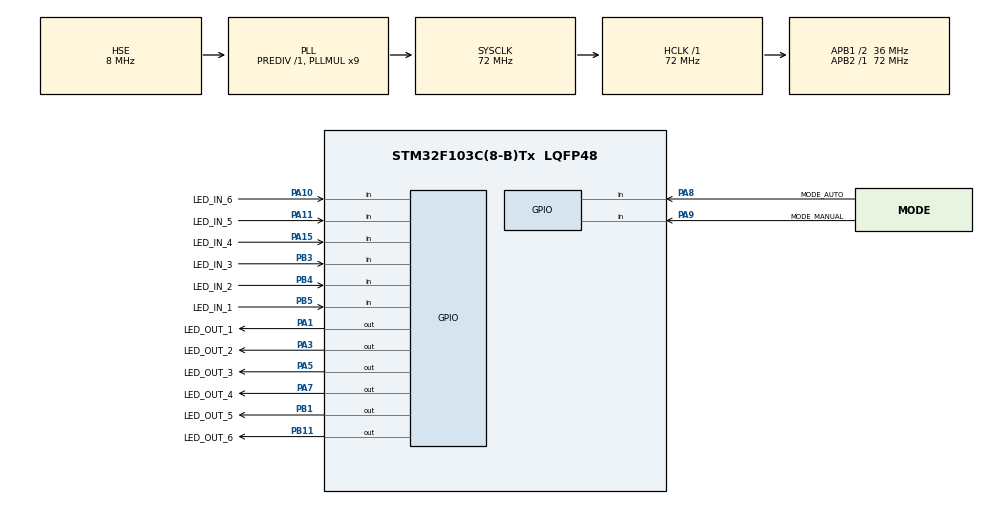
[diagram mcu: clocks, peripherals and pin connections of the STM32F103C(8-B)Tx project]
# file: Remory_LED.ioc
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Mcu.Family=STM32F1
Mcu.Name=STM32F103C(8-B)Tx
Mcu.Package=LQFP48
NVIC.PriorityGroup=NVIC_PRIORITYGROUP_4
PA1.GPIO_Label=LED_OUT_1
PA1.Signal=GPIO_Output
PA10.GPIO_Label=LED_IN_6
PA10.GPIO_PuPd=GPIO_PULLUP
PA10.Signal=GPIO_Input
PA11.GPIO_Label=LED_IN_5
PA11.GPIO_PuPd=GPIO_PULLUP
PA11.Signal=GPIO_Input
PA13.Mode=Serial_Wire
PA13.Signal=SYS_JTMS-SWDIO
PA14.Mode=Serial_Wire
PA14.Signal=SYS_JTCK-SWCLK
PA15.GPIO_Label=LED_IN_4
PA15.GPIO_PuPd=GPIO_PULLUP
PA15.Signal=GPIO_Input
PA3.GPIO_Label=LED_OUT_2
PA3.Signal=GPIO_Output
PA5.GPIO_Label=LED_OUT_3
PA5.Signal=GPIO_Output
PA7.GPIO_Label=LED_OUT_4
PA7.Signal=GPIO_Output
PA8.GPIO_Label=MODE_AUTO
PA8.GPIO_PuPd=GPIO_PULLUP
PA8.Signal=GPIO_Input
PA9.GPIO_Label=MODE_MANUAL
PA9.GPIO_PuPd=GPIO_PULLUP
PA9.Signal=GPIO_Input
PB1.GPIO_Label=LED_OUT_5
PB1.Signal=GPIO_Output
PB11.GPIO_Label=LED_OUT_6
PB11.GPIO_Speed=GPIO_SPEED_FREQ_LOW
PB11.Signal=GPIO_Output
PB3.GPIO_Label=LED_IN_3
PB3.GPIO_PuPd=GPIO_PULLUP
PB3.Signal=GPIO_Input
PB4.GPIO_Label=LED_IN_2
PB4.GPIO_PuPd=GPIO_PULLUP
PB4.Signal=GPIO_Input
PB5.GPIO_Label=LED_IN_1
PB5.GPIO_PuPd=GPIO_PULLUP
PB5.Signal=GPIO_Input
PD0-OSC_IN.Mode=HSE-External-Oscillator
PD0-OSC_IN.Signal=RCC_OSC_IN
PD1-OSC_OUT.Mode=HSE-External-Oscillator
PD1-OSC_OUT.Signal=RCC_OSC_OUT
ProjectManager.HeapSize=0x200
ProjectManager.StackSize=0x400
ProjectManager.TargetToolchain=MDK-ARM V5.32
RCC.AHBFreq_Value=72000000
RCC.APB1CLKDivider=RCC_HCLK_DIV2
RCC.APB1Freq_Value=36000000
RCC.APB1TimFreq_Value=72000000
RCC.APB2Freq_Value=72000000
RCC.APB2TimFreq_Value=72000000
RCC.HCLKFreq_Value=72000000
RCC.PLLMUL=RCC_PLL_MUL9
RCC.PLLSourceVirtual=RCC_PLLSOURCE_HSE
RCC.SYSCLKFreq_VALUE=72000000
RCC.SYSCLKSource=RCC_SYSCLKSOURCE_PLLCLK
RCC.USBFreq_Value=72000000
board=custom

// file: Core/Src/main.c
/* USER CODE BEGIN Header */
/**
 ******************************************************************************
 * @file           : main.c
 * @brief          : Main program body
 ******************************************************************************
 * @attention
 *
 * Copyright (c) 2024 STMicroelectronics.
 * All rights reserved.
 *
 * This software is licensed under terms that can be found in the LICENSE file
 * in the root directory of this software component.
 * If no LICENSE file comes with this software, it is provided AS-IS.
 *
 ******************************************************************************
 */
/* USER CODE END Header */
#include "main.h"
#include "gpio.h"

/* USER CODE BEGIN PV */
// 本项目所用到的所有全局变量
int8_t LED_1, LED_2, LED_3, LED_4, LED_5, LED_6, mode_auto, mode_manual = 0;
int8_t Last_LED_1, Last_LED_2, Last_LED_3, Last_LED_4, Last_LED_5, Last_LED_6, Last_mode_auto, Last_mode_manual = 0;
int8_t count = 0;
int8_t memory_LED[50] = {0}; // 用来记录按键顺序
int8_t sequence_num = 0;
int8_t Mode = DOWN;
/* USER CODE END PV */

void SystemClock_Config(void);

int main(void)
{

  /* MCU Configuration--------------------------------------------------------*/

  /* Reset of all peripherals, Initializes the Flash interface and the Systick. */
  HAL_Init();

  /* Configure the system clock */
  SystemClock_Config();

  /* Initialize all configured peripherals */
  MX_GPIO_Init();

  /* Infinite loop */
  /* USER CODE BEGIN WHILE */
  while (1)
  {
    Set_Mode();
    LastKeyOrder_update();
    GetKeyOrder();
    if (Mode == MANUAL)
    {
      Get_Key_Sequence();
    }
    else if (Mode == AUTO)
    {
      Light_LED();
      Mode = DOWN;
    }
    /* USER CODE END WHILE */

    /* USER CODE BEGIN 3 */
    HAL_Delay(5);
  }
  /* USER CODE END 3 */
}

void SystemClock_Config(void)
{
  RCC_OscInitTypeDef RCC_OscInitStruct = {0};
  RCC_ClkInitTypeDef RCC_ClkInitStruct = {0};

  /** Initializes the RCC Oscillators according to the specified parameters
   * in the RCC_OscInitTypeDef structure.
   */
  RCC_OscInitStruct.OscillatorType = RCC_OSCILLATORTYPE_HSE;
  RCC_OscInitStruct.HSEState = RCC_HSE_ON;
  RCC_OscInitStruct.HSEPredivValue = RCC_HSE_PREDIV_DIV1;
  RCC_OscInitStruct.HSIState = RCC_HSI_ON;
  RCC_OscInitStruct.PLL.PLLState = RCC_PLL_ON;
  RCC_OscInitStruct.PLL.PLLSource = RCC_PLLSOURCE_HSE;
  RCC_OscInitStruct.PLL.PLLMUL = RCC_PLL_MUL9;
  if (HAL_RCC_OscConfig(&RCC_OscInitStruct) != HAL_OK)
  {
    Error_Handler();
  }

  /** Initializes the CPU, AHB and APB buses clocks
   */
  RCC_ClkInitStruct.ClockType = RCC_CLOCKTYPE_HCLK | RCC_CLOCKTYPE_SYSCLK | RCC_CLOCKTYPE_PCLK1 | RCC_CLOCKTYPE_PCLK2;
  RCC_ClkInitStruct.SYSCLKSource = RCC_SYSCLKSOURCE_PLLCLK;
  RCC_ClkInitStruct.AHBCLKDivider = RCC_SYSCLK_DIV1;
  RCC_ClkInitStruct.APB1CLKDivider = RCC_HCLK_DIV2;
  RCC_ClkInitStruct.APB2CLKDivider = RCC_HCLK_DIV1;

  if (HAL_RCC_ClockConfig(&RCC_ClkInitStruct, FLASH_LATENCY_2) != HAL_OK)
  {
    Error_Handler();
  }
}

/* USER CODE BEGIN 4 */
// 获取按键信息
void GetKeyOrder(void)
{
  LED_1 = HAL_GPIO_ReadPin(LED_IN_1_GPIO_Port, LED_IN_1_Pin);
  LED_2 = HAL_GPIO_ReadPin(LED_IN_2_GPIO_Port, LED_IN_2_Pin);
  LED_3 = HAL_GPIO_ReadPin(LED_IN_3_GPIO_Port, LED_IN_3_Pin);
  LED_4 = HAL_GPIO_ReadPin(LED_IN_4_GPIO_Port, LED_IN_4_Pin);
  LED_5 = HAL_GPIO_ReadPin(LED_IN_5_GPIO_Port, LED_IN_5_Pin);
  LED_6 = HAL_GPIO_ReadPin(LED_IN_6_GPIO_Port, LED_IN_6_Pin);
  mode_manual = HAL_GPIO_ReadPin(MODE_MANUAL_GPIO_Port, MODE_MANUAL_Pin);
  mode_auto = HAL_GPIO_ReadPin(MODE_AUTO_GPIO_Port, MODE_AUTO_Pin);
}

// 更新上一次的按键信息
void LastKeyOrder_update(void)
{
  Last_LED_1 = LED_1;
  Last_LED_2 = LED_2;
  Last_LED_3 = LED_3;
  Last_LED_4 = LED_4;
  Last_LED_5 = LED_5;
  Last_LED_6 = LED_6;
  Last_mode_manual = mode_manual;
  Last_mode_auto = mode_auto;
}

// 记录按键顺序
void Get_Key_Sequence(void)
{
  if (LED_1 == Key_up && Last_LED_1 == Key_Down)
  {
    memory_LED[sequence_num] = 1;
    sequence_num++;
  }
  else if (LED_2 == Key_up && Last_LED_2 == Key_Down)
  {
    memory_LED[sequence_num] = 2;
    sequence_num++;
  }
  else if (LED_3 == Key_up && Last_LED_3 == Key_Down)
  {
    memory_LED[sequence_num] = 3;
    sequence_num++;
  }
  else if (LED_4 == Key_up && Last_LED_4 == Key_Down)
  {
    memory_LED[sequence_num] = 4;
    sequence_num++;
  }
  else if (LED_5 == Key_up && Last_LED_5 == Key_Down)
  {
    memory_LED[sequence_num] = 5;
    sequence_num++;
  }
  else if (LED_6 == Key_up && Last_LED_6 == Key_Down)
  {
    memory_LED[sequence_num] = 6;
    sequence_num++;
  }
  else
  {
    sequence_num = sequence_num;
  }
}

// 按照记录的顺序点亮led
void Light_LED(void)
{
  int i;
  for (i = 0; i < 51; i++)
  {
    switch (memory_LED[i])
    {
    case 1:
    {
      HAL_GPIO_WritePin(LED_OUT_1_GPIO_Port, LED_OUT_1_Pin, GPIO_PIN_SET);
      HAL_Delay(500);
      HAL_GPIO_WritePin(LED_OUT_1_GPIO_Port, LED_OUT_1_Pin, GPIO_PIN_RESET);
    }
    break;
    case 2:
    {
      HAL_GPIO_WritePin(LED_OUT_2_GPIO_Port, LED_OUT_2_Pin, GPIO_PIN_SET);
      HAL_Delay(500);
      HAL_GPIO_WritePin(LED_OUT_2_GPIO_Port, LED_OUT_2_Pin, GPIO_PIN_RESET);
    }
    break;
    case 3:
    {
      HAL_GPIO_WritePin(LED_OUT_3_GPIO_Port, LED_OUT_3_Pin, GPIO_PIN_SET);
      HAL_Delay(500);
      HAL_GPIO_WritePin(LED_OUT_3_GPIO_Port, LED_OUT_3_Pin, GPIO_PIN_RESET);
    }
    break;
    case 4:
    {
      HAL_GPIO_WritePin(LED_OUT_4_GPIO_Port, LED_OUT_4_Pin, GPIO_PIN_SET);
      HAL_Delay(500);
      HAL_GPIO_WritePin(LED_OUT_4_GPIO_Port, LED_OUT_4_Pin, GPIO_PIN_RESET);
    }
    break;
    case 5:
    {
      HAL_GPIO_WritePin(LED_OUT_5_GPIO_Port, LED_OUT_5_Pin, GPIO_PIN_SET);
      HAL_Delay(500);
      HAL_GPIO_WritePin(LED_OUT_5_GPIO_Port, LED_OUT_5_Pin, GPIO_PIN_RESET);
    }
    break;
    case 6:
    {
      HAL_GPIO_WritePin(LED_OUT_6_GPIO_Port, LED_OUT_6_Pin, GPIO_PIN_SET);
      HAL_Delay(500);
      HAL_GPIO_WritePin(LED_OUT_6_GPIO_Port, LED_OUT_6_Pin, GPIO_PIN_RESET);
    }
    break;
    default:
    {
      HAL_GPIO_WritePin(LED_OUT_1_GPIO_Port, LED_OUT_1_Pin, GPIO_PIN_RESET);
      HAL_GPIO_WritePin(LED_OUT_2_GPIO_Port, LED_OUT_2_Pin, GPIO_PIN_RESET);
      HAL_GPIO_WritePin(LED_OUT_3_GPIO_Port, LED_OUT_3_Pin, GPIO_PIN_RESET);
      HAL_GPIO_WritePin(LED_OUT_4_GPIO_Port, LED_OUT_4_Pin, GPIO_PIN_RESET);
    }
    break;
    }
  }
}

void Set_Mode(void)
{
  if (mode_manual == Key_up && Last_mode_manual == Key_Down)
  {
    sequence_num = 0;
    clear_memory();
    Mode = MANUAL;
  }
  else if (mode_auto == Key_up && Last_mode_auto == Key_Down)
  {
    Mode = AUTO;
  }
}

void clear_memory(void)
{
  int j;
  for (j = 0; j < 51; j++)
  {
    memory_LED[j] = 0;
  }
}
/* USER CODE END 4 */

void Error_Handler(void)
{
  __disable_irq();
  while (1)
  {
  }
}
